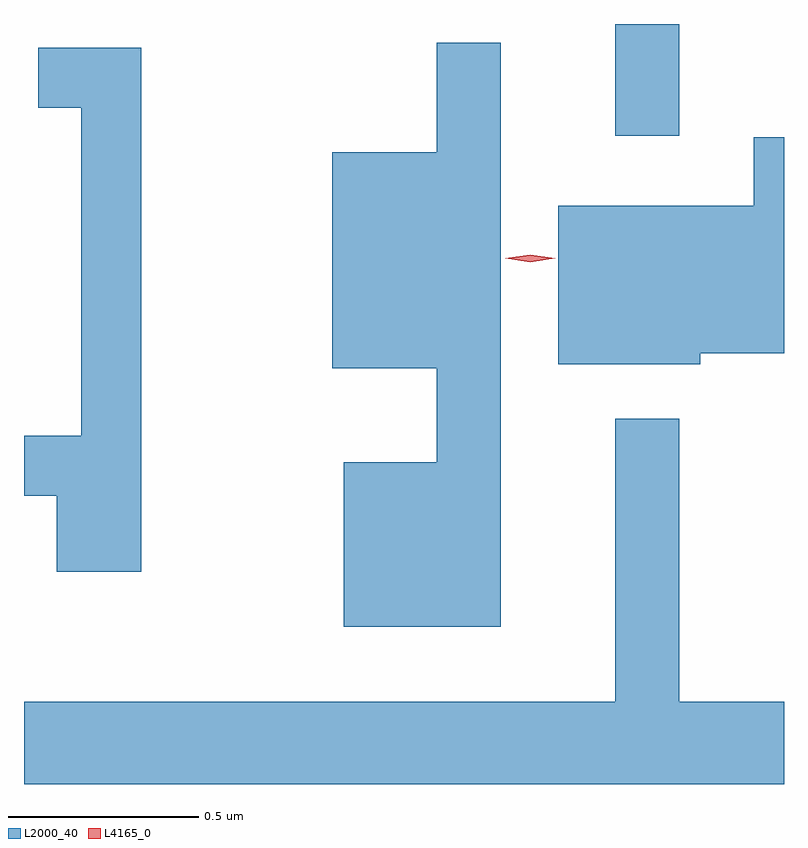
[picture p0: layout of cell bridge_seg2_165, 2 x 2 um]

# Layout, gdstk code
import gdstk
lib = gdstk.Library(unit=1e-6, precision=1e-09)
def R(c, l, rs):  # rectangles x0, y0, x1, y1
    for r in rs: c.add(gdstk.rectangle(r[:2], r[2:], *l))
def P(c, l, *ps):  # polygons
    for p in ps: c.add(gdstk.Polygon(p, *l))
L2000_40 = (2000, 40)
L4165_0 = (4165, 0)

bridge_seg2_165 = lib.new_cell('bridge_seg2_165')
R(bridge_seg2_165, L2000_40, [(681.101,1067.833,681.269,1068.127)])
P(bridge_seg2_165, L2000_40, [(680.799,1068.078),(680.631,1068.078),(680.631,1067.789),(680.356,1067.789),(680.356,1067.221),(680.631,1067.221),(680.631,1066.974),(680.386,1066.974),(680.386,1066.541),(680.799,1066.541)],
  [(679.854,1068.064),(679.583,1068.064),(679.583,1067.906),(679.696,1067.906),(679.696,1067.044),(679.545,1067.044),(679.545,1066.886),(679.631,1066.886),(679.631,1066.686),(679.854,1066.686)],
  [(681.324,1067.261),(681.545,1067.261),(681.545,1067.829),(681.466,1067.829),(681.466,1067.649),(680.951,1067.649),(680.951,1067.231),(681.324,1067.231)],
  [(681.545,1066.344),(681.269,1066.344),(681.269,1067.088),(681.101,1067.088),(681.101,1066.344),(679.545,1066.344),(679.545,1066.127),(681.545,1066.127)])
P(bridge_seg2_165, L4165_0, [(680.877,1067.5),(680.812,1067.51),(680.811,1067.51),(680.812,1067.51),(680.877,1067.52),(680.943,1067.51),(680.943,1067.51),(680.943,1067.51)])

lib.write_gds('bridge_seg2_165.gds')
